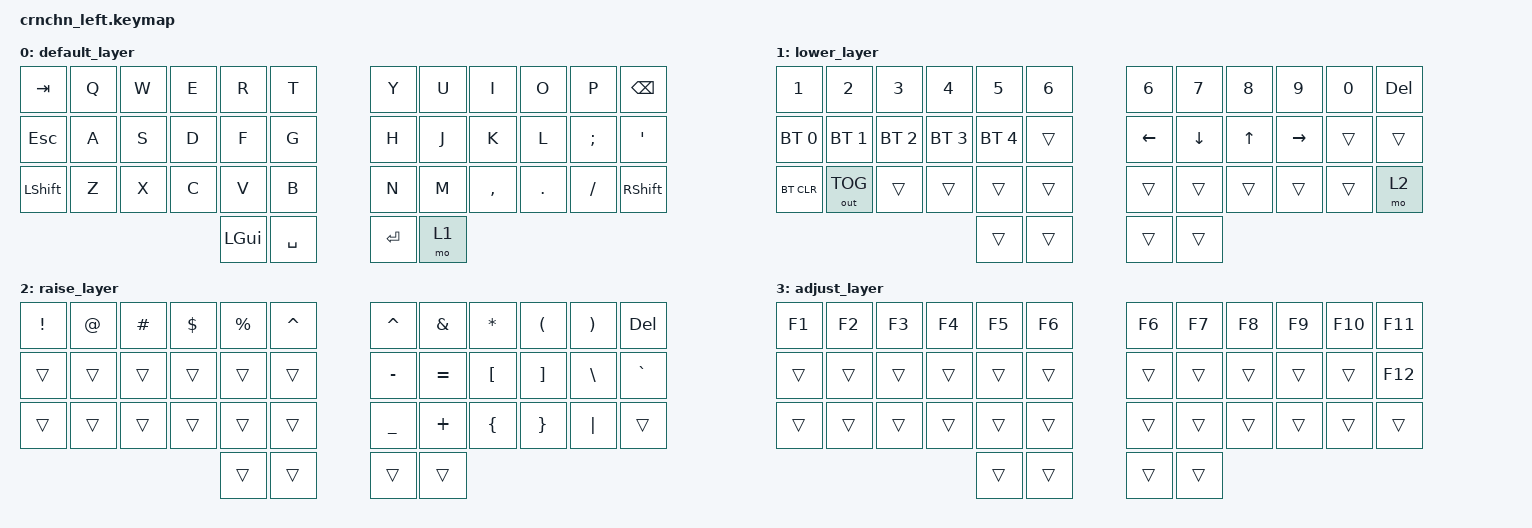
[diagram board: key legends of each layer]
/*
 * Copyright (c) 2020 The ZMK Contributors
 *
 * SPDX-License-Identifier: MIT
 */

#include <behaviors.dtsi>
#include <dt-bindings/zmk/keys.h>
#include <dt-bindings/zmk/bt.h>
#include <dt-bindings/zmk/outputs.h>

// Cornichon Layout (6 cols + 2 thumbs per side)
// ┌─────┬─────┬─────┬─────┬─────┬─────┐   ┌─────┬─────┬─────┬─────┬─────┬─────┐
// │  0  │  1  │  2  │  3  │  4  │  5  │   │  6  │  7  │  8  │  9  │ 10  │ 11  │
// ├─────┼─────┼─────┼─────┼─────┼─────┤   ├─────┼─────┼─────┼─────┼─────┼─────┤
// │ 12  │ 13  │ 14  │ 15  │ 16  │ 17  │   │ 18  │ 19  │ 20  │ 21  │ 22  │ 23  │
// ├─────┼─────┼─────┼─────┼─────┼─────┤   ├─────┼─────┼─────┼─────┼─────┼─────┤
// │ 24  │ 25  │ 26  │ 27  │ 28  │ 29  │   │ 30  │ 31  │ 32  │ 33  │ 34  │ 35  │
// └─────┴─────┴─────┼─────┼─────┴─────┘   └─────┴─────┼─────┼─────┴─────┴─────┘
//                   │ 36  │ 37  │                   │ 38  │ 39  │
//                   └─────┴─────┘                   └─────┴─────┘

/ {
    keymap {
        compatible = "zmk,keymap";

        default_layer {
            // ┌─────┬─────┬─────┬─────┬─────┬─────┐   ┌─────┬─────┬─────┬─────┬─────┬─────┐
            // │ TAB │  Q  │  W  │  E  │  R  │  T  │   │  Y  │  U  │  I  │  O  │  P  │ BKSP│
            // ├─────┼─────┼─────┼─────┼─────┼─────┤   ├─────┼─────┼─────┼─────┼─────┼─────┤
            // │ ESC │  A  │  S  │  D  │  F  │  G  │   │  H  │  J  │  K  │  L  │  ;  │  '  │
            // ├─────┼─────┼─────┼─────┼─────┼─────┤   ├─────┼─────┼─────┼─────┼─────┼─────┤
            // │  LS │  Z  │  X  │  C  │  V  │  B  │   │  N  │  M  │  ,  │  .  │  /  │ESC  │
            // └─────┴─────┴─────┼─────┼─────┴─────┘   └─────┴─────┼─────┼─────┴─────┴─────┘
            //                   │ CMD │SPACE│                   │ENTER│ FN  │
            //                   └─────┴─────┘                   └─────┴─────┘
            bindings = <
                &kp  TAB         &kp Q       &kp W       &kp E       &kp R       &kp T       &kp Y       &kp U       &kp I       &kp O       &kp P       &kp BSPC
                &kp ESC          &kp A       &kp S       &kp D       &kp F       &kp G       &kp H       &kp J       &kp K       &kp L       &kp SEMI    &kp SQT
                &kp LSHIFT       &kp Z       &kp X       &kp C       &kp V       &kp B       &kp N       &kp M       &kp COMMA   &kp DOT     &kp FSLH    &kp RSHIFT
                                                                &kp LGUI    &kp SPACE   &kp RET     &mo 1
            >;
        };

        lower_layer {
            // ┌─────┬─────┬─────┬─────┬─────┬─────┐   ┌─────┬─────┬─────┬─────┬─────┬─────┐
            // │  1  │  2  │  3  │  4  │  5  │  6  │   │  6  │  7  │  8  │  9  │  0  │ DEL │
            // ├─────┼─────┼─────┼─────┼─────┼─────┤   ├─────┼─────┼─────┼─────┼─────┼─────┤
            // │ BT1 │ BT2 │ BT3 │ BT4 │ BT5 │     │   │ LFT │ DWN │ UP  │ RGT │     │     │
            // ├─────┼─────┼─────┼─────┼─────┼─────┤   ├─────┼─────┼─────┼─────┼─────┼─────┤
            // │BTCLR│     │     │     │     │     │   │     │     │     │     │     │     │
            // └─────┴─────┴─────┼─────┼─────┴─────┘   └─────┴─────┼─────┼─────┴─────┴─────┘
            //                   │     │     │                   │     │ ^^^ │
            //                   └─────┴─────┘                   └─────┴─────┘
            bindings = <
                &kp N1          &kp N2          &kp N3          &kp N4          &kp N5          &kp N6          &kp N6          &kp N7          &kp N8          &kp N9          &kp N0          &kp DEL
                &bt BT_SEL 0    &bt BT_SEL 1    &bt BT_SEL 2    &bt BT_SEL 3    &bt BT_SEL 4    &trans          &kp LEFT        &kp DOWN        &kp UP          &kp RIGHT       &trans          &trans
                &bt BT_CLR      &out OUT_TOG    &trans          &trans          &trans          &trans          &trans          &trans          &trans          &trans          &trans          &mo 2
                                                                &trans          &trans                                          &trans          &trans
            >;
        };

        raise_layer {
            // ┌─────┬─────┬─────┬─────┬─────┬─────┐   ┌─────┬─────┬─────┬─────┬─────┬─────┐
            // │  !  │  @  │  #  │  $  │  %  │  ^  │   │  ^  │  &  │  *  │  (  │  )  │ DEL │
            // ├─────┼─────┼─────┼─────┼─────┼─────┤   ├─────┼─────┼─────┼─────┼─────┼─────┤
            // │     │     │     │     │     │     │   │  -  │  =  │  [  │  ]  │  \  │  `  │
            // ├─────┼─────┼─────┼─────┼─────┼─────┤   ├─────┼─────┼─────┼─────┼─────┼─────┤
            // │     │     │     │     │     │     │   │  _  │  +  │  {  │  }  │ "|" │ ^^^ │
            // └─────┴─────┴─────┼─────┼─────┴─────┘   └─────┴─────┼─────┼─────┴─────┴─────┘
            //                   │     │     │                   │     │     │
            //                   └─────┴─────┘                   └─────┴─────┘
            bindings = <
                &kp EXCL        &kp AT          &kp HASH        &kp DLLR        &kp PRCNT       &kp CARET       &kp CARET       &kp AMPS        &kp ASTRK       &kp LPAR        &kp RPAR        &kp DEL
                &trans          &trans          &trans          &trans          &trans          &trans          &kp MINUS       &kp EQUAL       &kp LBKT        &kp RBKT        &kp BSLH        &kp GRAVE
                &trans          &trans          &trans          &trans          &trans          &trans          &kp UNDER       &kp PLUS        &kp LBRC        &kp RBRC        &kp PIPE        &trans
                                                                &trans          &trans                                          &trans          &trans
            >;
        };

        adjust_layer {
            // Function keys and system controls
            // ┌─────┬─────┬─────┬─────┬─────┬─────┐   ┌─────┬─────┬─────┬─────┬─────┬─────┐
            // │ F1  │ F2  │ F3  │ F4  │ F5  │ F6  │   │ F6  │ F7  │ F8  │ F9  │ F10 │ F11 │
            // ├─────┼─────┼─────┼─────┼─────┼─────┤   ├─────┼─────┼─────┼─────┼─────┼─────┤
            // │     │     │     │     │     │     │   │     │     │     │     │     │ F12 │
            // ├─────┼─────┼─────┼─────┼─────┼─────┤   ├─────┼─────┼─────┼─────┼─────┼─────┤
            // │     │     │     │     │     │     │   │     │     │     │     │     │     │
            // └─────┴─────┴─────┼─────┼─────┴─────┘   └─────┴─────┼─────┼─────┴─────┴─────┘
            //                   │     │     │                   │     │     │
            //                   └─────┴─────┘                   └─────┴─────┘
            bindings = <
                &kp F1          &kp F2          &kp F3          &kp F4          &kp F5          &kp F6          &kp F6          &kp F7          &kp F8          &kp F9          &kp F10         &kp F11
                &trans          &trans          &trans          &trans          &trans          &trans          &trans          &trans          &trans          &trans          &trans          &kp F12
                &trans          &trans          &trans          &trans          &trans          &trans          &trans          &trans          &trans          &trans          &trans          &trans
                                                                &trans          &trans                                          &trans          &trans
            >;
        };
    };
};

// Combos for quick access
/ {
    combos {
        compatible = "zmk,combos";

        combo_esc {
            timeout-ms = <50>;
            key-positions = <0 1>;  // Q + W = ESC
            bindings = <&kp ESC>;
        };

        combo_tab {
            timeout-ms = <50>;
            key-positions = <12 13>; // A + S = TAB
            bindings = <&kp TAB>;
        };

        combo_ret {
            timeout-ms = <50>;
            key-positions = <21 22>; // L + ; = ENTER
            bindings = <&kp RET>;
        };

        combo_caps {
            timeout-ms = <50>;
            key-positions = <13 14>; // S + D = CAPS
            bindings = <&kp CAPS>;
        };
    };
};

// Conditional layers
/ {
    conditional_layers {
        compatible = "zmk,conditional-layers";
        tri_layer {
            if-layers = <1 2>;
            then-layer = <3>;
        };
    };
};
